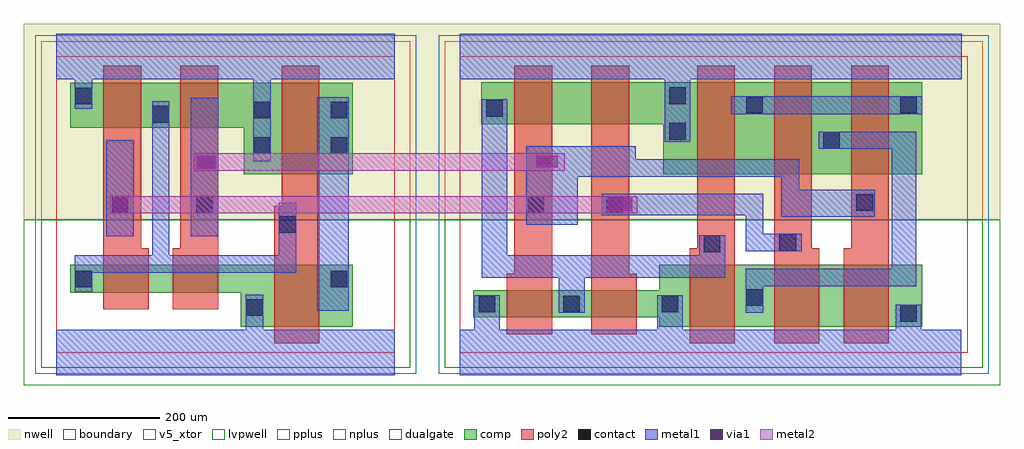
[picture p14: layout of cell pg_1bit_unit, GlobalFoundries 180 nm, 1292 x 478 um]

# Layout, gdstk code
import gdstk
lib = gdstk.Library(unit=1e-6, precision=1e-07)
def R(c, l, rs):  # rectangles x0, y0, x1, y1
    for r in rs: c.add(gdstk.rectangle(r[:2], r[2:], *l))
def P(c, l, *ps):  # polygons
    for p in ps: c.add(gdstk.Polygon(p, *l))
boundary = (0, 0)
nwell = (21, 0)
comp = (22, 0)
poly2 = (30, 0)
pplus = (31, 0)
nplus = (32, 0)
contact = (33, 0)
metal1 = (34, 0)
via1 = (35, 0)
metal2 = (36, 0)
dualgate = (55, 0)
v5_xtor = (112, 1)
lvpwell = (204, 0)

and2 = lib.new_cell('and2')
R(and2, boundary, [(0,0,448,392), (0,0,448,392), (0,0,448,392), (0,0,448,392)])
R(and2, nwell, [(-43,176,491,435)])
P(and2, comp, [(244,34.5),(244,79.5),(18,79.5),(18,116),(392,116),(392,34.5)],
  [(248,236),(248,297.5),(18,297.5),(18,357.5),(392,357.5),(392,236)])
P(and2, poly2, [(62,57.5),(62,380),(112,380),(112,138),(122,138),(122,57.5)],
  [(154,57.5),(154,138),(164,138),(164,380),(214,380),(214,57.5)],
  [(288,12),(288,194.5),(298,194.5),(298,380),(348,380),(348,12)])
R(and2, pplus, [(-20,176,468,412)])
R(and2, nplus, [(-20,-20,468,176)])
R(and2, contact, [(251,48.5,273,70.5), (25,86.5,47,108.5), (363,86.5,385,108.5), (295,158.5,317,180.5), (73,185,95,207), (185,185,207,207), (261,263,283,285), (363,263,385,285), (127,304.5,149,326.5), (261,310,283,332), (363,310,385,332), (25,328.5,47,350.5)])
R(and2, metal1, [(345,55.5,387,338), (66,154,102,281), (178,154,214,337)])
P(and2, metal1, [(24.5,80.5),(24.5,129),(126.5,129),(126.5,332.5),(149.5,332.5),(149.5,129),(294.5,129),(294.5,198.5),(317.5,198.5),(317.5,105.5),(47.5,105.5),(47.5,80.5)],
  [(0,-30),(0,30),(250.5,30),(250.5,76.5),(273.5,76.5),(273.5,30),(448,30),(448,-30)],
  [(260.5,253),(260.5,362),(47.5,362),(47.5,322.5),(24.5,322.5),(24.5,362),(0,362),(0,422),(448,422),(448,362),(283.5,362),(283.5,253)])
R(and2, dualgate, [(-28,-28,476,420)])
R(and2, v5_xtor, [(0,0,448,392), (0,0,448,392), (0,0,448,392), (0,0,448,392)])
R(and2, lvpwell, [(-43,-43,491,176)])
and2.add(gdstk.Label('VDD', (224,392), layer=34, texttype=10))
and2.add(gdstk.Label('VSS', (224,0), layer=34, texttype=10))
and2.add(gdstk.Label('Z', (364,196), layer=34, texttype=10))
and2.add(gdstk.Label('A1', (84,196), layer=34, texttype=10))
and2.add(gdstk.Label('A2', (196,252), layer=34, texttype=10))
and2.add(gdstk.Label('& Vendor GLOBALFOUNDRIES', (0,200), layer=63, texttype=63))
and2.add(gdstk.Label('& Product GF018hv5v_mcu_sc7', (0,150), layer=63, texttype=63))
and2.add(gdstk.Label('& Version 2015q2v1', (0,100), layer=63, texttype=63))
and2.add(gdstk.Label('& Metric 1.00', (0,50), layer=63, texttype=63))

xor2 = lib.new_cell('xor2')
R(xor2, boundary, [(0,0,672,392), (0,0,672,392)])
R(xor2, nwell, [(-43,176,715,435)])
P(xor2, comp, [(264,34),(264,46.5),(18,46.5),(18,82.5),(264,82.5),(264,116),(612,116),(612,34)],
  [(269,236),(269,302),(28,302),(28,358),(612,358),(612,236)])
P(xor2, poly2, [(62,24.5),(62,104.5),(72,104.5),(72,380),(122,380),(122,24.5)],
  [(174,24.5),(174,380),(224,380),(224,104.5),(234,104.5),(234,24.5)],
  [(304,12),(304,138),(314,138),(314,380),(364,380),(364,12)],
  [(416,12),(416,380),(466,380),(466,138),(476,138),(476,12)],
  [(508,12),(508,138),(518,138),(518,380),(568,380),(568,12)])
R(xor2, pplus, [(-20,176,692,412)])
R(xor2, nplus, [(-20,-20,692,176)])
R(xor2, contact, [(583,41,605,63), (25,53.5,47,75.5), (137,53.5,159,75.5), (267,53.5,289,75.5), (379,62,401,84), (323,133,345,155), (423,134.5,445,156.5), (90,185,112,207), (193.5,185,215.5,207), (525,187.5,547,209.5), (481,270,503,292), (277,282,299,304), (35,312,57,334), (379,316.5,401,338.5), (583,316.5,605,338.5), (277,329,299,351)])
R(xor2, metal1, [(359,315.5,612,339)])
P(xor2, metal1, [(271,279),(271,362),(0,362),(0,422),(664.1,422),(664.1,362),(305,362),(305,279)],
  [(0,-30),(0,30),(19,30),(19,76),(53,76),(53,30),(261,30),(261,76),(295,76),(295,30),(577,30),(577,63.5),(611,63.5),(611,30),(664,30),(664,-30)],
  [(131,53),(131,99),(29,99),(29,335),(63,335),(63,129),(317,129),(317,155.5),(351,155.5),(351,99),(165,99),(165,53)],
  [(378.5,134),(378.5,182),(187.5,182),(187.5,210),(401.5,210),(401.5,157),(452.5,157),(452.5,134)],
  [(88,169),(88,273),(232.5,273),(232.5,256),(449.5,256),(449.5,215.5),(549,215.5),(549,180),(425.5,180),(425.5,233),(156,233),(156,169)],
  [(378.5,53),(378.5,111),(572,111),(572,269.5),(475,269.5),(475,292.5),(604,292.5),(604,87.5),(401.5,87.5),(401.5,53)])
R(xor2, dualgate, [(-28,-28,700,420)])
R(xor2, v5_xtor, [(0,0,672,392), (0,0,672,392)])
R(xor2, lvpwell, [(-43,-43,715,176)])
xor2.add(gdstk.Label('VDD', (336,391.5), layer=34, texttype=10))
xor2.add(gdstk.Label('VSS', (336,0), layer=34, texttype=10))
xor2.add(gdstk.Label('Z', (588,140), layer=34, texttype=10))
xor2.add(gdstk.Label('A1', (364,196), layer=34, texttype=10))
xor2.add(gdstk.Label('A2', (196,252), layer=34, texttype=10))
xor2.add(gdstk.Label('VDD', (336,391.5), layer=34, texttype=10))
xor2.add(gdstk.Label('VSS', (336,0), layer=34, texttype=10))
xor2.add(gdstk.Label('Z', (588,140), layer=34, texttype=10))
xor2.add(gdstk.Label('A1', (364,196), layer=34, texttype=10))
xor2.add(gdstk.Label('A2', (196,252), layer=34, texttype=10))
xor2.add(gdstk.Label('& Vendor GLOBALFOUNDRIES', (0,200), layer=63, texttype=63))
xor2.add(gdstk.Label('& Product GF018hv5v_mcu_sc7', (0,150), layer=63, texttype=63))
xor2.add(gdstk.Label('& Version 2015q2v1', (0,100), layer=63, texttype=63))
xor2.add(gdstk.Label('& Metric 1.00', (0,50), layer=63, texttype=63))

pg_1bit_unit = lib.new_cell('pg_1bit_unit')
R(pg_1bit_unit, via1, [(77.2,129.9,95.9,147), (733,130.2,765,147.8), (188.4,186.3,214.2,203.6), (637.3,188.3,665.9,203.6)])
R(pg_1bit_unit, metal2, [(72.9,127.1,771,150), (184.4,183.9,675.4,206.8)])
pg_1bit_unit.add(gdstk.Reference(and2, (2.5,-57)))
pg_1bit_unit.add(gdstk.Reference(xor2, (536.5,-57)))

lib.write_gds('pg_1bit_unit.gds')
